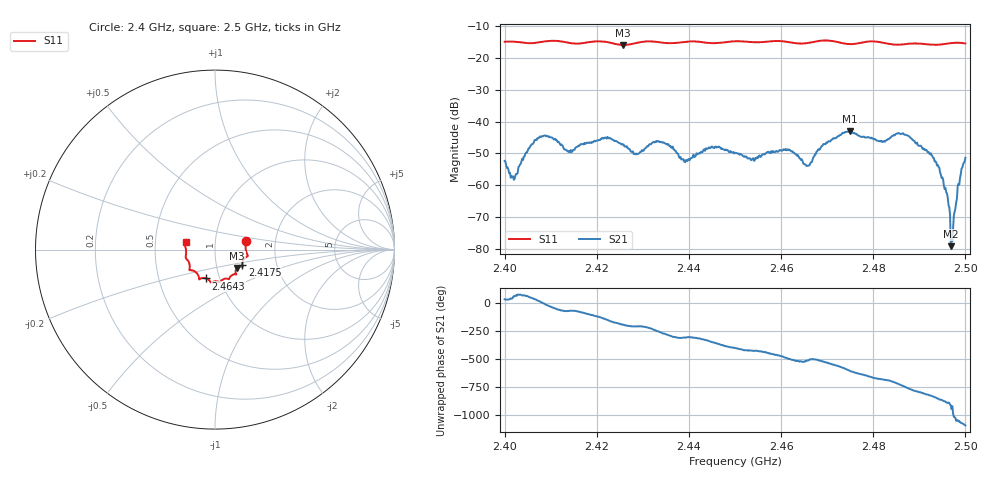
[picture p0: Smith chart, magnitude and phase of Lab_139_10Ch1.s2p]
# Hz S RI R 50
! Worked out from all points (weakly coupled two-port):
!   601 points, 2.4 GHz to 2.5 GHz, reference 50 ohm
!   highest |S21| = -43.13 dB at 2.475 GHz (marker M1); lowest = -79.2 dB at 2.4968 GHz (marker M2)
!   lowest |S11| = -15.9 dB at 2.4257 GHz (marker M3), VSWR 1.38, Z = 62.5 - j13.1 ohm
!   |S11| at or under -10 dB: start of sweep to end of sweep
!   S12 and S22 are empty: the file has one direction only
!   S11 on the Smith chart (normalised r, x): 2.4 GHz: 1.41, +0.14; 2.4175 GHz: 1.34, -0.23; 2.4643 GHz: 0.86, -0.29; 2.5 GHz: 0.72, +0.06
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2.4e9  0.1732 0.0487  0.00197 0.00137  0 0  0 0
2.402167e9  0.1756 0.0397  0.0006 0.0011  0 0  0 0
2.408167e9  0.1782 -0.0225  0.00591 0.000494  0 0  0 0
2.414e9  0.1661 -0.0467  0.00118 -0.00308  0 0  0 0
2.416667e9  0.153 -0.0742  0.000533 -0.00435  0 0  0 0
2.4175e9  0.1521 -0.0837  -2.12e-05 -0.00444  0 0  0 0
2.425667e9  0.1228 -0.1025  -0.00422 0.00101  0 0  0 0
2.4285e9  0.1147 -0.1276  -0.00271 0.00137  0 0  0 0
2.433333e9  0.1129 -0.1371  -0.00163 0.00463  0 0  0 0
2.439167e9  0.0802 -0.1603  0.0013 0.00189  0 0  0 0
2.45e9  0.0287 -0.1809  0.00252 -0.00202  0 0  0 0
2.464333e9  -0.0499 -0.1609  -0.00232 -0.000881  0 0  0 0
2.466667e9  -0.0759 -0.1595  -0.00179 -0.00146  0 0  0 0
2.475e9  -0.1064 -0.126  -0.00285 0.00637  0 0  0 0
2.483333e9  -0.1407 -0.0901  0.00456 0.00269  0 0  0 0
2.486833e9  -0.1545 -0.0568  0.00557 -0.00268  0 0  0 0
2.492667e9  -0.1609 -0.0177  -0.000869 -0.00281  0 0  0 0
2.4955e9  -0.1653 0.0151  -0.000788 -0.000358  0 0  0 0
2.496833e9  -0.1691 0.026  -0.000108 2.11e-05  0 0  0 0
2.497333e9  -0.1701 0.0289  -1.68e-05 0.000208  0 0  0 0
2.498833e9  -0.1692 0.0363  0.00122 0.000421  0 0  0 0
2.5e9  -0.1639 0.0428  0.00264 -0.000502  0 0  0 0
